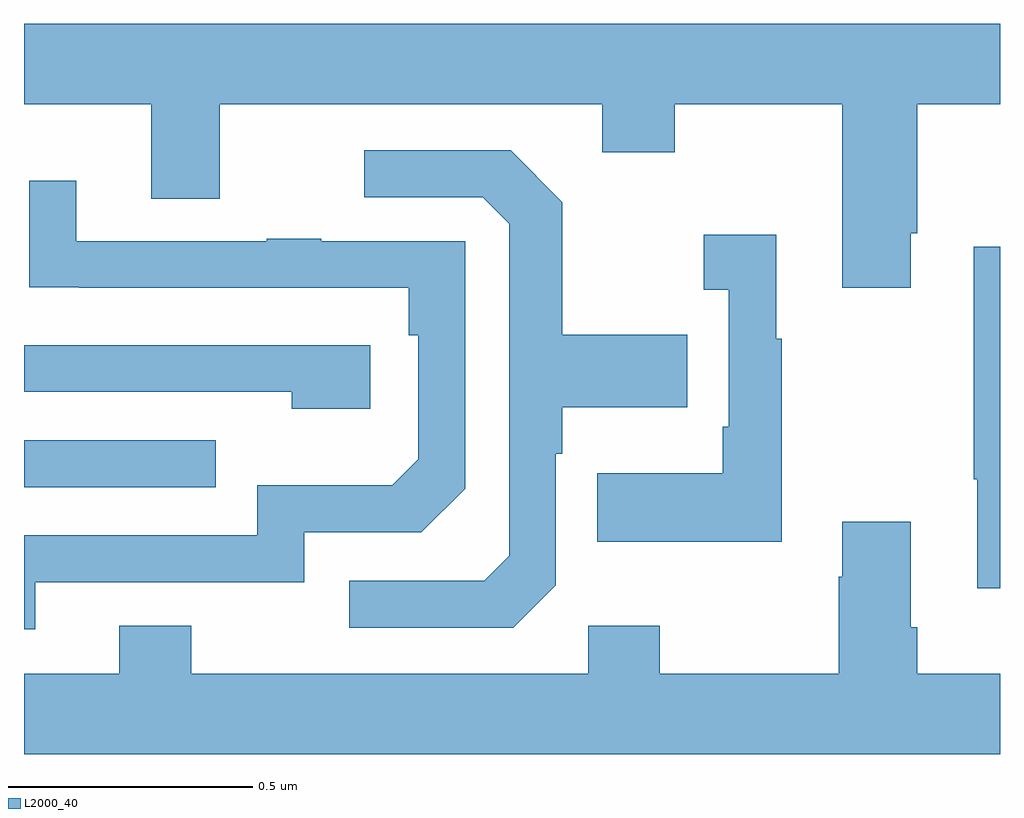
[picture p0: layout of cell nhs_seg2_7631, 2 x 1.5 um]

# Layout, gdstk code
import gdstk
lib = gdstk.Library(unit=1e-6, precision=1e-09)
def R(c, l, rs):  # rectangles x0, y0, x1, y1
    for r in rs: c.add(gdstk.rectangle(r[:2], r[2:], *l))
def P(c, l, *ps):  # polygons
    for p in ps: c.add(gdstk.Polygon(p, *l))
L2000_40 = (2000, 40)

nhs_seg2_7631 = lib.new_cell('nhs_seg2_7631')
R(nhs_seg2_7631, L2000_40, [(206,649.515,206.393,649.611)])
P(nhs_seg2_7631, L2000_40, [(207.817,650.035),(207.83,650.035),(207.83,650.3),(208,650.3),(208,650.464),(206,650.464),(206,650.3),(206.261,650.3),(206.261,650.106),(206.401,650.106),(206.401,650.3),(207.185,650.3),(207.185,650.201),(207.333,650.201),(207.333,650.3),(207.677,650.3),(207.677,649.923),(207.817,649.923)],
  [(207.09,649.314),(207.09,649.583),(207.103,649.583),(207.103,649.679),(207.359,649.679),(207.359,649.827),(207.103,649.827),(207.103,650.099),(206.997,650.205),(206.697,650.205),(206.697,650.109),(206.94,650.109),(206.994,650.055),(206.994,649.374),(206.943,649.323),(206.667,649.323),(206.667,649.227),(207.003,649.227)],
  [(206.023,649.32),(206.574,649.32),(206.574,649.422),(206.814,649.422),(206.904,649.512),(206.904,650.019),(206.609,650.019),(206.609,650.024),(206.497,650.024),(206.497,650.019),(206.107,650.019),(206.107,650.143),(206.011,650.143),(206.011,649.924),(206.113,649.924),(206.113,649.923),(206.788,649.923),(206.788,649.826),(206.808,649.826),(206.808,649.572),(206.755,649.519),(206.478,649.519),(206.478,649.416),(206,649.416),(206,649.224),(206.023,649.224)],
  [(207.553,649.819),(207.541,649.819),(207.541,650.032),(207.393,650.032),(207.393,649.919),(207.444,649.919),(207.444,649.639),(207.432,649.639),(207.432,649.543),(207.175,649.543),(207.175,649.403),(207.553,649.403)],
  [(208,650.007),(207.946,650.007),(207.946,649.531),(207.953,649.531),(207.953,649.308),(208,649.308)],
  [(206.71,649.806),(206,649.806),(206,649.71),(206.549,649.71),(206.549,649.676),(206.71,649.676)],
  [(208,649.132),(207.83,649.132),(207.83,649.228),(207.817,649.228),(207.817,649.444),(207.677,649.444),(207.677,649.331),(207.67,649.331),(207.67,649.132),(207.303,649.132),(207.303,649.231),(207.156,649.231),(207.156,649.132),(206.343,649.132),(206.343,649.231),(206.195,649.231),(206.195,649.132),(206,649.132),(206,648.968),(208,648.968)])

lib.write_gds('nhs_seg2_7631.gds')
